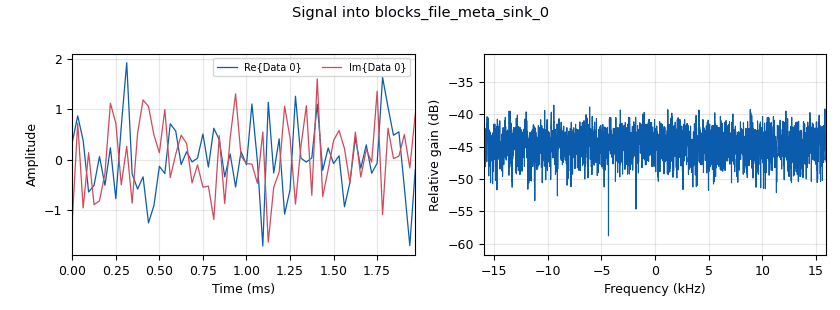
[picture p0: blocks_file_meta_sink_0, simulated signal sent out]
<?xml version='1.0' encoding='utf-8'?>
<?grc format='1' created='3.7.8'?>
<flow_graph>
<block>
<key>options</key>
<param><key>id</key><value>metafile</value></param>
<param><key>category</key><value>Custom</value></param>
<param><key>generate_options</key><value>no_gui</value></param>
</block>
<block>
<key>variable</key>
<param><key>id</key><value>samp_rate</value></param>
<param><key>value</key><value>32000</value></param>
</block>
<block>
<key>analog_noise_source_x</key>
<param><key>id</key><value>analog_noise_source_x_0</value></param>
<param><key>amp</key><value>1</value></param>
<param><key>noise_type</key><value>analog.GR_GAUSSIAN</value></param>
<param><key>type</key><value>complex</value></param>
<param><key>seed</key><value>0</value></param>
</block>
<block>
<key>blocks_file_meta_sink</key>
<param><key>id</key><value>blocks_file_meta_sink_0</value></param>
<param><key>detached</key><value>False</value></param>
<param><key>extra_dict</key><value>""</value></param>
<param><key>file</key><value>metafile.dat</value></param>
<param><key>type</key><value>complex</value></param>
<param><key>max_seg_size</key><value>1000000</value></param>
<param><key>rel_rate</key><value>1</value></param>
<param><key>samp_rate</key><value>samp_rate</value></param>
</block>
<block>
<key>blocks_file_meta_source</key>
<param><key>id</key><value>blocks_file_meta_source_0</value></param>
<param><key>detached</key><value>False</value></param>
<param><key>file</key><value>/Users/danidiaz/Develop/usrp/test/metafile.dat</value></param>
<param><key>type</key><value>complex</value></param>
<param><key>repeat</key><value>True</value></param>
</block>
<block>
<key>blocks_null_sink</key>
<param><key>id</key><value>blocks_null_sink_0</value></param>
<param><key>bus_conns</key><value>[[0,],]</value></param>
<param><key>type</key><value>complex</value></param>
</block>
<block>
<key>blocks_throttle</key>
<param><key>id</key><value>blocks_throttle_0</value></param>
<param><key>samples_per_second</key><value>samp_rate</value></param>
<param><key>type</key><value>complex</value></param>
</block>
<connection><source_block_id>analog_noise_source_x_0</source_block_id><sink_block_id>blocks_throttle_0</sink_block_id><source_key>0</source_key><sink_key>0</sink_key></connection>
<connection><source_block_id>blocks_file_meta_source_0</source_block_id><sink_block_id>blocks_null_sink_0</sink_block_id><source_key>0</source_key><sink_key>0</sink_key></connection>
<connection><source_block_id>blocks_throttle_0</source_block_id><sink_block_id>blocks_file_meta_sink_0</sink_block_id><source_key>0</source_key><sink_key>0</sink_key></connection>
</flow_graph>
